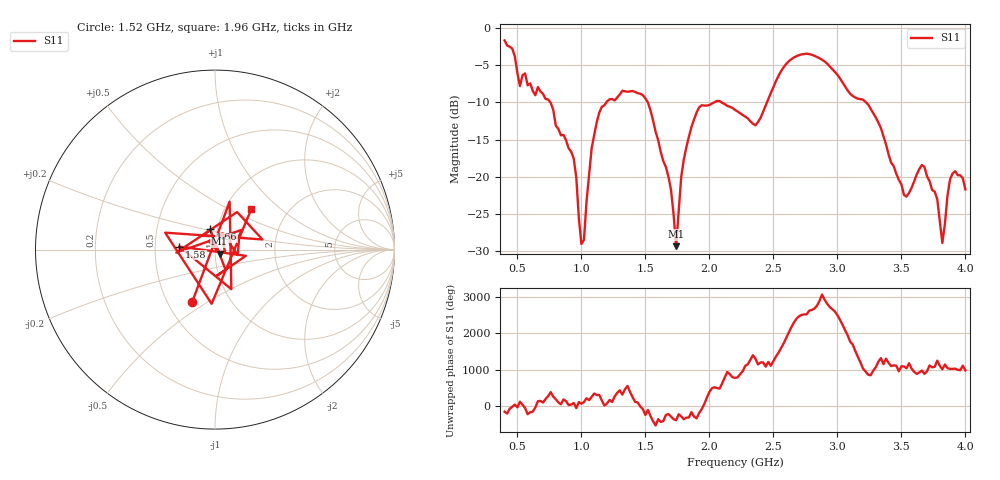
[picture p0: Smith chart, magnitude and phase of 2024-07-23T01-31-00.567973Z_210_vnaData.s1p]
!Created with skrf (http://scikit-rf.org).
# Hz S RI R 50.0
!freq ReS11 ImS11
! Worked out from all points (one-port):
!   181 points, 400 MHz to 4 GHz, reference 50 ohm
!   lowest |S11| = -29.4 dB at 1.74 GHz (marker M1), VSWR 1.07, Z = 52.6 - j2.35 ohm
!   |S11| at or under -10 dB: 757.9 MHz to 1.194 GHz (436.6 MHz wide, 44.7 % of centre); 1.52 GHz to 2.037 GHz (516.9 MHz wide, 29.1 % of centre); 3.223 GHz to end of sweep (the widest 3 of 4)
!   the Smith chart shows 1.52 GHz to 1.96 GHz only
!   S11 on the Smith chart (normalised r, x): 1.52 GHz: 0.67, -0.43; 1.58 GHz: 0.67, +0.02; 1.66 GHz: 0.92, +0.21; 1.96 GHz: 1.32, +0.65
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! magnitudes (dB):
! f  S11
! 400 MHz  -1.7
! 520 MHz  -7.8
! 660 MHz  -7.9
! 860 MHz  -14.4
! 940 MHz  -17.6
! 1 GHz  -29.1
! 1.02 GHz  -28.5
! 1.12 GHz  -12.7
! 1.3 GHz  -8.9
! 1.52 GHz  -10.0
! 1.58 GHz  -14.0
! 1.66 GHz  -18.7
! 1.7 GHz  -21.8
! 1.74 GHz  -29.4
! 1.76 GHz  -24.7
! 1.82 GHz  -16.0
! 1.96 GHz  -10.4
! 2.2 GHz  -11.0
! 2.36 GHz  -13.1
! 2.66 GHz  -3.9
! 3.1 GHz  -8.8
! 3.26 GHz  -10.9
! 3.56 GHz  -22.2
! 3.68 GHz  -18.7
! 3.78 GHz  -23.0
! 3.82 GHz  -28.9
! 3.88 GHz  -20.4
! 4 GHz  -21.7
